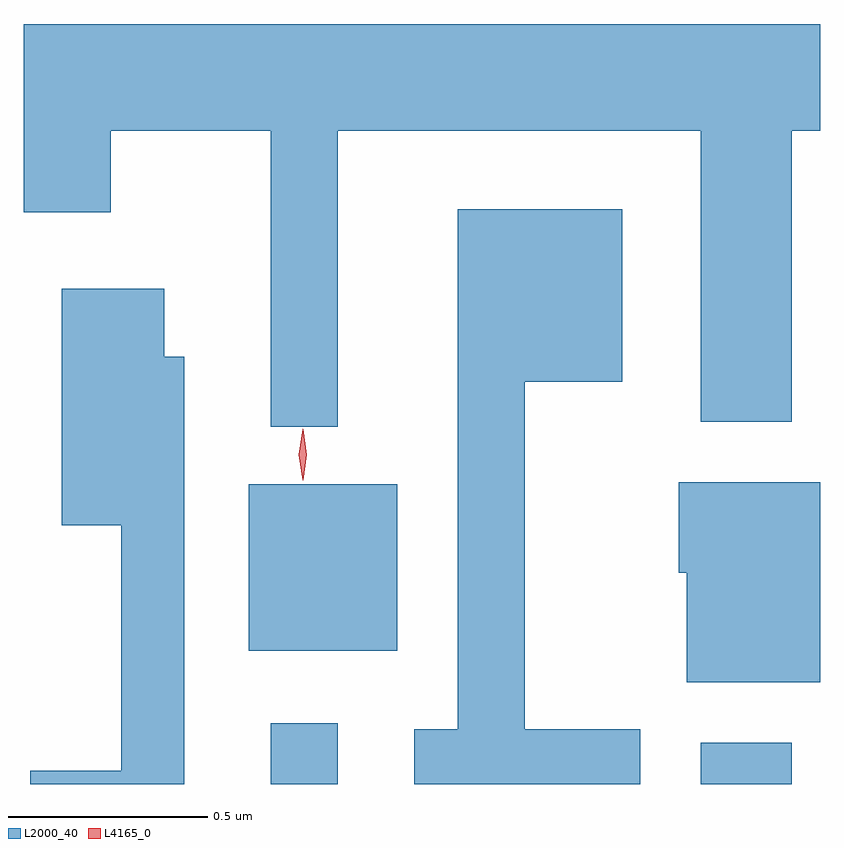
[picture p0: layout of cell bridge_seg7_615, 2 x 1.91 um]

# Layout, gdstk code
import gdstk
lib = gdstk.Library(unit=1e-6, precision=1e-09)
def R(c, l, rs):  # rectangles x0, y0, x1, y1
    for r in rs: c.add(gdstk.rectangle(r[:2], r[2:], *l))
def P(c, l, *ps):  # polygons
    for p in ps: c.add(gdstk.Polygon(p, *l))
L2000_40 = (2000, 40)
L4165_0 = (4165, 0)

bridge_seg7_615 = lib.new_cell('bridge_seg7_615')
R(bridge_seg7_615, L2000_40, [(620.131,1752.636,620.299,1752.788), (621.211,1752.636,621.439,1752.739), (620.076,1752.971,620.449,1753.389)])
P(bridge_seg7_615, L2000_40, [(620.299,1754.276),(621.211,1754.276),(621.211,1753.546),(621.439,1753.546),(621.439,1754.276),(621.511,1754.276),(621.511,1754.544),(619.511,1754.544),(619.511,1754.071),(619.729,1754.071),(619.729,1754.276),(620.131,1754.276),(620.131,1753.533),(620.299,1753.533)],
  [(621.059,1752.774),(620.769,1752.774),(620.769,1753.646),(621.014,1753.646),(621.014,1754.079),(620.601,1754.079),(620.601,1752.774),(620.491,1752.774),(620.491,1752.636),(621.059,1752.636)],
  [(619.914,1753.709),(619.864,1753.709),(619.864,1753.879),(619.606,1753.879),(619.606,1753.286),(619.756,1753.286),(619.756,1752.669),(619.528,1752.669),(619.528,1752.636),(619.914,1752.636)],
  [(621.511,1753.394),(621.156,1753.394),(621.156,1753.166),(621.176,1753.166),(621.176,1752.891),(621.511,1752.891)])
P(bridge_seg7_615, L4165_0, [(620.212,1753.398),(620.212,1753.398),(620.202,1753.463),(620.212,1753.527),(620.212,1753.528),(620.213,1753.527),(620.222,1753.463),(620.213,1753.398)])

lib.write_gds('bridge_seg7_615.gds')
